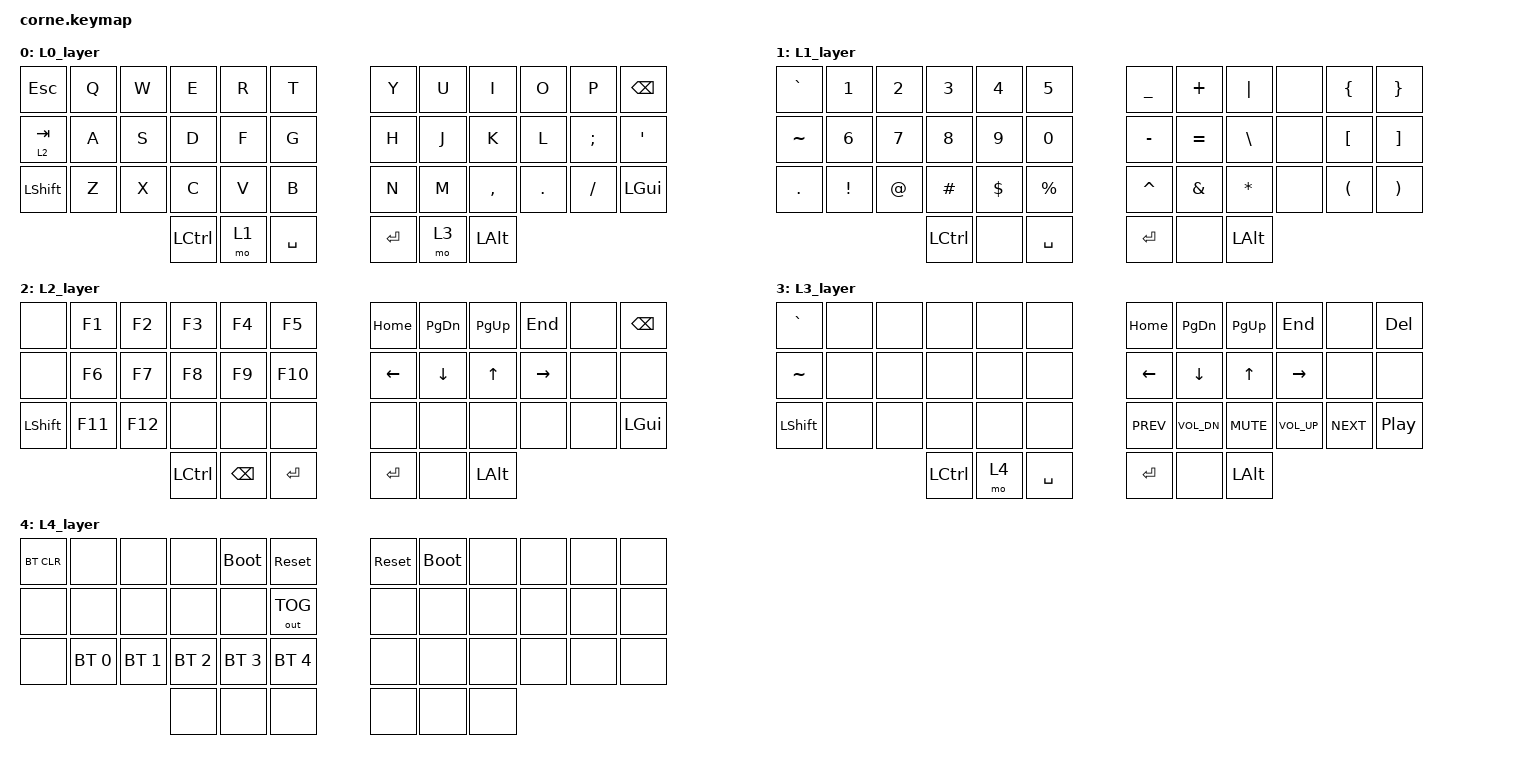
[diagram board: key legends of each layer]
// corne_v3.keymap
// test

#include <behaviors.dtsi>
#include <dt-bindings/zmk/keys.h>
#include <dt-bindings/zmk/bt.h>
#include <dt-bindings/zmk/outputs.h>

/ {
    keymap {
        compatible = "zmk,keymap";

        L0_layer {
            // -----------------------------------------------------------------------------------------
            // |  ESC |  Q  |  W  |  E  |  R  |  T  |   |  Y  |  U  |  I  |  O  |  P  | BKSP |
            // | 2&TAB|  A  |  S  |  D  |  F  |  G  |   |  H  |  J  |  K  |  L  |  ;  |  '   |
            // | SHFT |  Z  |  X  |  C  |  V  |  B  |   |  N  |  M  |  ,  |  .  |  /  |  GUI |
            //                    | CTRL|  1  | SPC |   | ENT |  3  | ALT |
            bindings = <
                &kp ESC    &kp Q   &kp W   &kp E   &kp R   &kp T        &kp Y   &kp U  &kp I     &kp O   &kp P    &kp BSPC
                &lt 2 TAB  &kp A   &kp S   &kp D   &kp F   &kp G        &kp H   &kp J  &kp K     &kp L   &kp SEMI &kp SQT
                &kp LSHFT  &kp Z   &kp X   &kp C   &kp V   &kp B        &kp N   &kp M  &kp COMMA &kp DOT &kp FSLH &kp LGUI
                                        &kp LCTRL  &mo 1   &kp SPACE    &kp RET &mo 3  &kp LALT
            >;
        };

        L1_layer {
            // -----------------------------------------------------------------------------------------
            // |  `  |  1  |  2  |  3  |  4  |  5  |   |  _  |  +  |  |  |     |  {  |  }  |
            // |  ~  |  6  |  7  |  8  |  9  |  0  |   |  -  |  =  |  \  |     |  [  |  ]  |
            // |  .  |  !  |  @  |  #  |  $  |  %  |   |  ^  |  &  |  *  |     |  (  |  )  |
            //                   | CTRL|     | SPC |   | ENT |     | ALT |
            bindings = <
                &kp GRAVE &kp N1    &kp N2   &kp N3    &kp N4    &kp N5       &kp UNDER  &kp PLUS  &kp PIPE  &none  &kp LBRC  &kp RBRC
                &kp TILDE &kp N6    &kp N7   &kp N8    &kp N9    &kp N0       &kp MINUS  &kp EQUAL &kp BSLH  &none  &kp LBKT  &kp RBKT
                &kp DOT   &kp EXCL  &kp AT   &kp HASH  &kp DLLR  &kp PRCNT    &kp CARET  &kp AMPS  &kp STAR  &none  &kp LPAR  &kp RPAR
                                             &kp LCTRL &none     &kp SPACE    &kp RET    &none     &kp LALT
            >;
        };

        L2_layer {
            // -----------------------------------------------------------------------------------------
            // |     |  F1  |  F2  |  F3  |  F4  |  F5  |   | HOME|PG_DN|PG_UP| END |     | BKSP |
            // |     |  F6  |  F7  |  F8  |  F9  |  F10 |   | LEFT| DOWN|  UP |RIGHT|     |      |
            // | SHFT|  F11 |  F12 |      |      |      |   |     |     |     |     |     |  GUI |
            //                     | CTRL | BKSP |  ENT |   | ENT |     | ALT |
            bindings = <
                &none     &kp F1   &kp F2   &kp F3   &kp F4    &kp F5       &kp HOME  &kp PG_DN &kp PG_UP &kp END   &none    &kp BSPC
                &none     &kp F6   &kp F7   &kp F8   &kp F9    &kp F10      &kp LEFT  &kp DOWN  &kp UP    &kp RIGHT &none    &none
                &kp LSHFT &kp F11  &kp F12  &none    &none     &none        &none     &none     &none     &none     &none    &kp LGUI
                                           &kp LCTRL &kp BSPC  &kp RET      &kp RET   &none     &kp LALT
            >;
        };

       L3_layer {
            // -----------------------------------------------------------------------------------------
            // |  `  |     |     |     |     |     |   | HOME|PG_DN|PG_UP| END |     |  DEL |
            // |  ~  |     |     |     |     |     |   | LEFT| DOWN|  UP |RIGHT|     |      |
            // | SHFT|     |     |     |     |     |   | PREV|VOLDN| MUTE|VOLUP| NEXT|PLAY_PAUSE|
            //                   | CTRL|  4  | SPC |   | ENT |     | ALT |
            bindings = <
                &kp GRAVE   &none   &none    &none    &none    &none          &kp HOME     &kp PG_DN    &kp PG_UP    &kp END      &none        &kp DEL
                &kp TILDE   &none   &none    &none    &none    &none          &kp LEFT     &kp DOWN     &kp UP       &kp RIGHT    &none        &none
                &kp LSHFT   &none   &none    &none    &none    &none          &kp C_PREV   &kp C_VOL_DN &kp C_MUTE   &kp C_VOL_UP &kp C_NEXT   &kp C_PP
                                          &kp LCTRL   &mo 4    &kp SPACE      &kp RET      &none        &kp LALT
            >;
        };

        L4_layer {
            // -----------------------------------------------------------------------------------------
            // | BTCLR|     |     |     | BOOT|RESET|   |RESET| BOOT|     |     |     |      |
            // |      |     |     |     |     | OUT |   |     |     |     |     |     |      |
            // |      | BT1 | BT2 | BT3 | BT4 | BT5 |   |     |     |     |     |     |      |
            //                    |     |     |     |   |     |     |     |
            bindings = <
                &bt BT_CLR  &none         &none         &none         &bootloader   &sys_reset      &sys_reset  &bootloader  &none  &none  &none  &none
                &none       &none         &none         &none         &none         &out OUT_TOG    &none       &none        &none  &none  &none  &none
                &none       &bt BT_SEL 0  &bt BT_SEL 1  &bt BT_SEL 2  &bt BT_SEL 3  &bt BT_SEL 4    &none       &none        &none  &none  &none  &none
                                                        &none         &none         &none           &none       &none        &none
            >;
        };
    };
};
